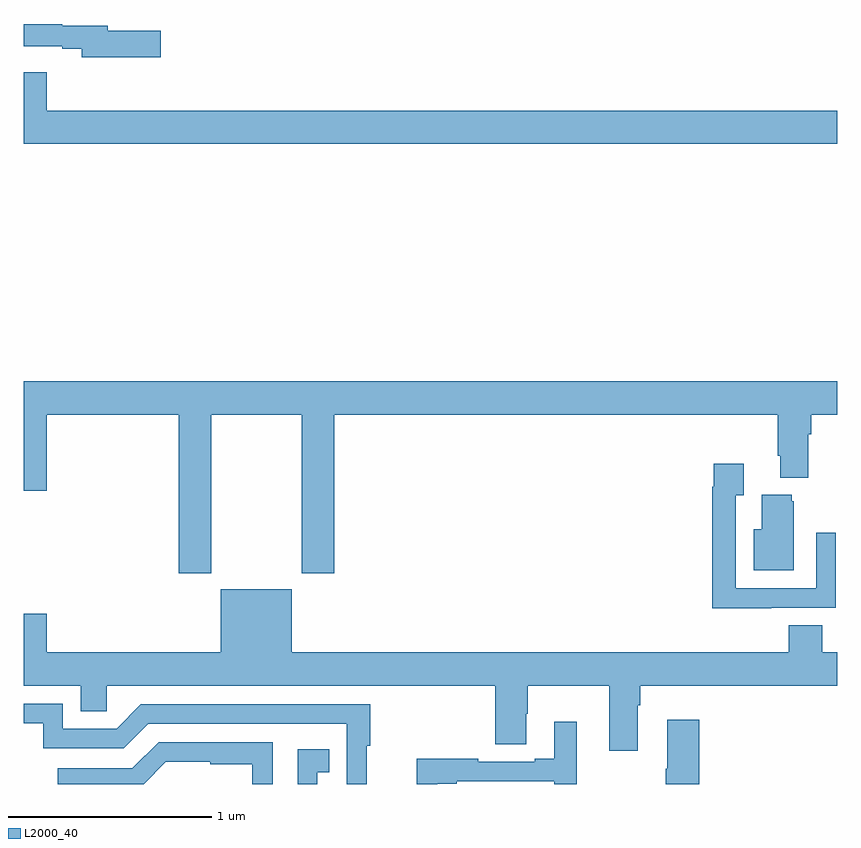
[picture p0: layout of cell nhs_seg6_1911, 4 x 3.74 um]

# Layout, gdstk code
import gdstk
lib = gdstk.Library(unit=1e-6, precision=1e-09)
def P(c, l, *ps):  # polygons
    for p in ps: c.add(gdstk.Polygon(p, *l))
L2000_40 = (2000, 40)

nhs_seg6_1911 = lib.new_cell('nhs_seg6_1911')
P(nhs_seg6_1911, L2000_40, [(225.673,969.204),(225.412,969.204),(225.412,969.23),(225.188,969.23),(225.188,969.238),(225,969.238),(225,969.129),(225.188,969.129),(225.188,969.117),(225.284,969.117),(225.284,969.074),(225.673,969.074)],
  [(229,968.812),(225.112,968.812),(225.112,969.001),(225,969.001),(225,968.648),(229,968.648)],
  [(225.921,967.316),(226.366,967.316),(226.366,966.537),(226.526,966.537),(226.526,967.316),(228.707,967.316),(228.707,967.114),(228.719,967.114),(228.719,967.007),(228.859,967.007),(228.859,967.22),(228.872,967.22),(228.872,967.316),(229,967.316),(229,967.48),(225,967.48),(225,966.942),(225.112,966.942),(225.112,967.316),(225.761,967.316),(225.761,966.537),(225.921,966.537)],
  [(228.677,966.366),(228.993,966.366),(228.993,966.736),(228.897,966.736),(228.897,966.462),(228.501,966.462),(228.501,966.919),(228.541,966.919),(228.541,967.075),(228.393,967.075),(228.393,966.962),(228.385,966.962),(228.385,966.365),(228.677,966.365)],
  [(228.787,966.891),(228.776,966.891),(228.776,966.922),(228.629,966.922),(228.629,966.754),(228.59,966.754),(228.59,966.551),(228.787,966.551)],
  [(228.019,965.888),(228.032,965.888),(228.032,965.984),(229,965.984),(229,966.148),(228.926,966.148),(228.926,966.281),(228.761,966.281),(228.761,966.148),(226.318,966.148),(226.318,966.457),(225.968,966.457),(225.968,966.148),(225.112,966.148),(225.112,966.337),(225,966.337),(225,965.984),(225.281,965.984),(225.281,965.857),(225.408,965.857),(225.408,965.984),(227.318,965.984),(227.318,965.695),(227.47,965.695),(227.47,965.846),(227.478,965.846),(227.478,965.984),(227.879,965.984),(227.879,965.664),(228.019,965.664)],
  [(226.686,965.689),(226.703,965.689),(226.703,965.892),(225.576,965.892),(225.456,965.772),(225.192,965.772),(225.192,965.895),(225,965.895),(225,965.799),(225.096,965.799),(225.096,965.676),(225.492,965.676),(225.612,965.796),(226.587,965.796),(226.587,965.5),(226.686,965.5)],
  [(228.323,965.815),(228.164,965.815),(228.164,965.576),(228.157,965.576),(228.157,965.5),(228.323,965.5)],
  [(227.032,965.502),(227.128,965.502),(227.128,965.514),(227.609,965.514),(227.609,965.5),(227.719,965.5),(227.719,965.806),(227.609,965.806),(227.609,965.623),(227.513,965.623),(227.513,965.61),(227.234,965.61),(227.234,965.623),(226.933,965.623),(226.933,965.5),(227.032,965.5)],
  [(225.698,965.609),(225.917,965.609),(225.917,965.598),(226.123,965.598),(226.123,965.5),(226.224,965.5),(226.224,965.706),(225.663,965.706),(225.534,965.577),(225.167,965.577),(225.167,965.5),(225.589,965.5)],
  [(226.444,965.558),(226.502,965.558),(226.502,965.671),(226.347,965.671),(226.347,965.5),(226.444,965.5)])

lib.write_gds('nhs_seg6_1911.gds')
